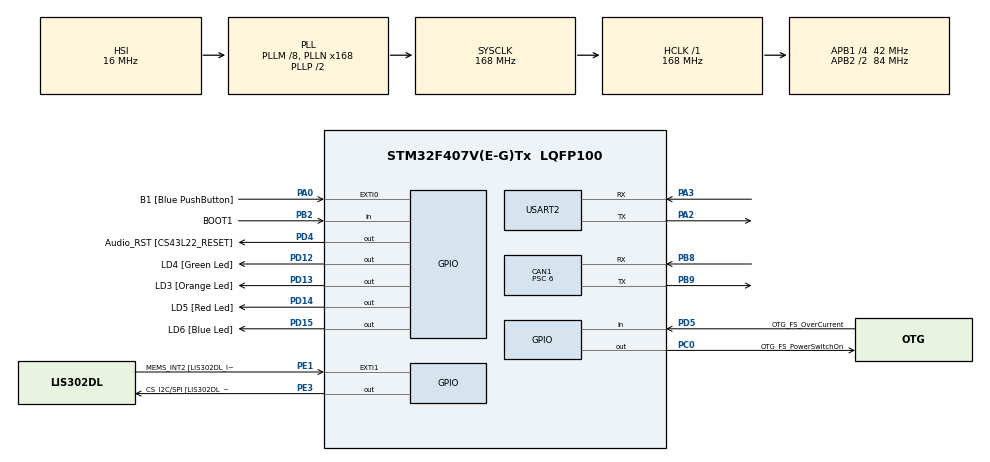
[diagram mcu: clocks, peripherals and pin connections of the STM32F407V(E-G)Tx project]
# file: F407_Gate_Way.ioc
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CAN1.BS1=CAN_BS1_11TQ
CAN1.BS2=CAN_BS2_2TQ
CAN1.CalculateBaudRate=500000
CAN1.CalculateTimeBit=2000
CAN1.CalculateTimeQuantum=142.85714285714286
CAN1.NART=ENABLE
CAN1.Prescaler=6
FREERTOS.Tasks01=defaultTask,0,128,StartDefaultTask,Default,NULL,Dynamic,NULL,NULL
Mcu.Family=STM32F4
Mcu.Name=STM32F407V(E-G)Tx
Mcu.Package=LQFP100
NVIC.CAN1_RX0_IRQn=true\:5\:0\:false\:false\:true\:true\:true\:true\:true
NVIC.CAN1_RX1_IRQn=true\:5\:0\:false\:false\:true\:true\:true\:true\:true
NVIC.PriorityGroup=NVIC_PRIORITYGROUP_4
NVIC.TIM6_DAC_IRQn=true\:15\:0\:false\:false\:true\:false\:false\:true\:true
NVIC.TimeBase=TIM6_DAC_IRQn
NVIC.TimeBaseIP=TIM6
PA0-WKUP.GPIO_Label=B1 [Blue PushButton]
PA0-WKUP.Signal=GPXTI0
PA10.GPIO_Label=OTG_FS_ID
PA10.GPIO_Mode=GPIO_MODE_AF_PP
PA10.GPIO_PuPd=GPIO_NOPULL
PA10.GPIO_Speed=GPIO_SPEED_FREQ_LOW
PA10.Signal=USB_OTG_FS_ID
PA11.GPIO_Label=OTG_FS_DM
PA11.GPIO_Mode=GPIO_MODE_AF_PP
PA11.GPIO_PuPd=GPIO_NOPULL
PA11.GPIO_Speed=GPIO_SPEED_FREQ_LOW
PA11.Signal=USB_OTG_FS_DM
PA12.GPIO_Label=OTG_FS_DP
PA12.GPIO_Mode=GPIO_MODE_AF_PP
PA12.GPIO_PuPd=GPIO_NOPULL
PA12.GPIO_Speed=GPIO_SPEED_FREQ_LOW
PA12.Signal=USB_OTG_FS_DP
PA13.GPIO_Label=SWDIO
PA13.Mode=Serial_Wire
PA13.Signal=SYS_JTMS-SWDIO
PA14.GPIO_Label=SWCLK
PA14.Mode=Serial_Wire
PA14.Signal=SYS_JTCK-SWCLK
PA2.Mode=Asynchronous
PA2.Signal=USART2_TX
PA3.Mode=Asynchronous
PA3.Signal=USART2_RX
PA4.GPIO_Label=I2S3_WS [CS43L22_LRCK]
PA4.GPIO_Mode=GPIO_MODE_AF_PP
PA4.GPIO_PuPd=GPIO_NOPULL
PA4.GPIO_Speed=GPIO_SPEED_FREQ_LOW
PA4.Signal=I2S3_WS
PA5.GPIO_Label=SPI1_SCK [LIS302DL_SCL/SPC]
PA5.GPIO_Mode=GPIO_MODE_AF_PP
PA5.GPIO_PuPd=GPIO_NOPULL
PA5.GPIO_Speed=GPIO_SPEED_FREQ_LOW
PA5.Signal=SPI1_SCK
PA6.GPIO_Label=SPI1_MISO [LIS302DL_SDO]
PA6.GPIO_Mode=GPIO_MODE_AF_PP
PA6.GPIO_PuPd=GPIO_NOPULL
PA6.GPIO_Speed=GPIO_SPEED_FREQ_LOW
PA6.Signal=SPI1_MISO
PA7.GPIO_Label=SPI1_MOSI [LIS302DL_SDA/SDI/SDO]
PA7.GPIO_Mode=GPIO_MODE_AF_PP
PA7.GPIO_PuPd=GPIO_NOPULL
PA7.GPIO_Speed=GPIO_SPEED_FREQ_LOW
PA7.Signal=SPI1_MOSI
PA9.GPIO_Label=VBUS_FS
PA9.GPIO_Mode=GPIO_MODE_INPUT
PA9.GPIO_PuPd=GPIO_NOPULL
PA9.Signal=USB_OTG_FS_VBUS
PB10.GPIO_Label=CLK_IN [MP45DT02_CLK]
PB10.GPIO_Mode=GPIO_MODE_AF_PP
PB10.GPIO_PuPd=GPIO_NOPULL
PB10.GPIO_Speed=GPIO_SPEED_FREQ_LOW
PB10.Signal=I2S2_CK
PB2.GPIO_Label=BOOT1
PB2.GPIO_Mode=GPIO_MODE_INPUT
PB2.GPIO_PuPd=GPIO_NOPULL
PB2.Signal=GPIO_Input
PB3.GPIO_Label=SWO
PB3.Signal=SYS_JTDO-SWO
PB6.GPIO_Label=Audio_SCL [CS43L22_SCL]
PB6.GPIO_Mode=GPIO_MODE_AF_OD
PB6.GPIO_PuPd=GPIO_NOPULL
PB6.GPIO_Speed=GPIO_SPEED_FREQ_LOW
PB6.Signal=I2C1_SCL
PB8.Mode=CAN_Activate
PB8.Signal=CAN1_RX
PB9.Mode=CAN_Activate
PB9.Signal=CAN1_TX
PC0.GPIO_Label=OTG_FS_PowerSwitchOn
PC0.GPIO_PuPd=GPIO_NOPULL
PC0.GPIO_Speed=GPIO_SPEED_FREQ_LOW
PC0.PinState=GPIO_PIN_SET
PC0.Signal=GPIO_Output
PC10.GPIO_Label=I2S3_SCK [CS43L22_SCLK]
PC10.GPIO_Mode=GPIO_MODE_AF_PP
PC10.GPIO_PuPd=GPIO_NOPULL
PC10.GPIO_Speed=GPIO_SPEED_FREQ_LOW
PC10.Signal=I2S3_CK
PC12.GPIO_Label=I2S3_SD [CS43L22_SDIN]
PC12.GPIO_Mode=GPIO_MODE_AF_PP
PC12.GPIO_PuPd=GPIO_NOPULL
PC12.GPIO_Speed=GPIO_SPEED_FREQ_LOW
PC12.Signal=I2S3_SD
PC14-OSC32_IN.GPIO_Label=PC14-OSC32_IN
PC14-OSC32_IN.Signal=RCC_OSC32_IN
PC15-OSC32_OUT.GPIO_Label=PC15-OSC32_OUT
PC15-OSC32_OUT.Signal=RCC_OSC32_OUT
PC3.GPIO_Label=PDM_OUT [MP45DT02_DOUT]
PC3.GPIO_Mode=GPIO_MODE_AF_PP
PC3.GPIO_PuPd=GPIO_NOPULL
PC3.GPIO_Speed=GPIO_SPEED_FREQ_LOW
PC3.Signal=I2S2_SD
PC7.GPIO_Label=I2S3_MCK [CS43L22_MCLK]
PC7.GPIO_Mode=GPIO_MODE_AF_PP
PC7.GPIO_PuPd=GPIO_NOPULL
PC7.GPIO_Speed=GPIO_SPEED_FREQ_LOW
PC7.Signal=I2S3_MCK
PD12.GPIO_Label=LD4 [Green Led]
PD12.GPIO_PuPd=GPIO_NOPULL
PD12.GPIO_Speed=GPIO_SPEED_FREQ_LOW
PD12.Signal=GPIO_Output
PD13.GPIO_Label=LD3 [Orange Led]
PD13.GPIO_PuPd=GPIO_NOPULL
PD13.GPIO_Speed=GPIO_SPEED_FREQ_LOW
PD13.Signal=GPIO_Output
PD14.GPIO_Label=LD5 [Red Led]
PD14.GPIO_PuPd=GPIO_NOPULL
PD14.GPIO_Speed=GPIO_SPEED_FREQ_LOW
PD14.Signal=GPIO_Output
PD15.GPIO_Label=LD6 [Blue Led]
PD15.GPIO_PuPd=GPIO_NOPULL
PD15.GPIO_Speed=GPIO_SPEED_FREQ_LOW
PD15.Signal=GPIO_Output
PD4.GPIO_Label=Audio_RST [CS43L22_RESET]
PD4.GPIO_PuPd=GPIO_NOPULL
PD4.GPIO_Speed=GPIO_SPEED_FREQ_LOW
PD4.Signal=GPIO_Output
PD5.GPIO_Label=OTG_FS_OverCurrent
PD5.GPIO_Mode=GPIO_MODE_INPUT
PD5.GPIO_PuPd=GPIO_NOPULL
PD5.Signal=GPIO_Input
PE1.GPIO_Label=MEMS_INT2 [LIS302DL_INT2]
PE1.GPIO_ModeDefaultEXTI=GPIO_MODE_EVT_RISING
PE1.GPIO_PuPd=GPIO_NOPULL
PE1.Signal=GPXTI1
PE3.GPIO_Label=CS_I2C/SPI [LIS302DL_CS_I2C/SPI]
PE3.GPIO_PuPd=GPIO_NOPULL
PE3.GPIO_Speed=GPIO_SPEED_FREQ_LOW
PE3.Signal=GPIO_Output
PH0-OSC_IN.GPIO_Label=PH0-OSC_IN
PH0-OSC_IN.Mode=HSE-External-Oscillator
PH0-OSC_IN.Signal=RCC_OSC_IN
PH1-OSC_OUT.GPIO_Label=PH1-OSC_OUT
PH1-OSC_OUT.Mode=HSE-External-Oscillator
PH1-OSC_OUT.Signal=RCC_OSC_OUT
ProjectManager.HeapSize=0x200
ProjectManager.StackSize=0x400
ProjectManager.TargetToolchain=STM32CubeIDE
RCC.48MHZClocksFreq_Value=48000000
RCC.AHBFreq_Value=168000000
RCC.APB1CLKDivider=RCC_HCLK_DIV4
RCC.APB1Freq_Value=42000000
RCC.APB1TimFreq_Value=84000000
RCC.APB2CLKDivider=RCC_HCLK_DIV2
RCC.APB2Freq_Value=84000000
RCC.APB2TimFreq_Value=168000000
RCC.CortexFreq_Value=168000000
RCC.HCLKFreq_Value=168000000
RCC.HSE_VALUE=8000000
RCC.HSI_VALUE=16000000
RCC.LSE_VALUE=32768
RCC.PLLM=8
RCC.PLLN=168
RCC.PLLQ=7
RCC.SYSCLKFreq_VALUE=168000000
RCC.SYSCLKSource=RCC_SYSCLKSOURCE_PLLCLK
RCC.VCOOutputFreq_Value=336000000
USART2.VirtualMode=VM_ASYNC
VP_FREERTOS_VS_CMSIS_V1.Mode=CMSIS_V1
VP_SYS_VS_tim6.Mode=TIM6
board=STM32F407G-DISC1

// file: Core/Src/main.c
/* USER CODE BEGIN Header */
/**
  ******************************************************************************
  * @file           : main.c
  * @brief          : Main program body
  ******************************************************************************
* @file           : main.c
  * @brief          : F407 - Gateway (FreeRTOS)
  *
  *  Task layout:
  *   - CAN RX ISR        : does the minimum possible work - copies the raw
  *                         frame into a queue item, toggles RX_LED, and
  *                         wakes vTask_CanRxProcess. No parsing happens
  *                         inside the ISR itself.
  *   - vTask_CanRxProcess: blocks on the CAN RX queue, parses each frame,
  *                         updates the shared sensor-aggregate struct
  *                         (protected by hAggMutex), replies with an
  *                         ACK/NACK (toggling TX_LED), and signals
  *                         vTask_UartPush that fresh data is available.
  *   - vTask_UartPush    : waits on a semaphore with a timeout equal to
  *                         UART_PUSH_INTERVAL_MS - this naturally implements
  *                         "push immediately on new data, otherwise push
  *                         periodically so the PC knows the link is alive".
  *
  * HARDWARE ASSUMPTIONS (adjust to match your actual board):
  *
  *  - TX_LED      : PD12 (LD4 on STM32F4-Discovery, green)
  *  - RX_LED      : PD14 (LD5 on STM32F4-Discovery, red)
  *
  * FreeRTOS: this file assumes the FreeRTOS kernel is already integrated by
  * CubeMX (heap_4, configUSE_MUTEXES=1). Native FreeRTOS API is used
  * directly (xTaskCreate/xQueueCreate/xSemaphoreCreate...) rather than the
  * CMSIS-RTOS2 wrapper.
  *
  ******************************************************************************
  */
/* USER CODE END Header */
#include "main.h"
#include "cmsis_os.h"

/* USER CODE BEGIN Includes */
#include <stdio.h>
#include <string.h>
#include "can_protocol.h"
#include "uart_protocol.h"

#include "FreeRTOS.h"
#include "task.h"
#include "queue.h"
#include "semphr.h"
/* USER CODE END Includes */

CAN_HandleTypeDef hcan1;

UART_HandleTypeDef huart2;

osThreadId defaultTaskHandle;
/* USER CODE BEGIN PV */
#define TX_LED_GPIO_Port    GPIOD
#define TX_LED_Pin          GPIO_PIN_12  /* LD4 */
#define RX_LED_GPIO_Port    GPIOD
#define RX_LED_Pin          GPIO_PIN_14  /* LD5 */

#define TASK_STACK_SIZE     256
#define TASK_PRIO_CAN_RX    (tskIDLE_PRIORITY + 3)
#define TASK_PRIO_UART_TX   (tskIDLE_PRIORITY + 2)
#define CAN_RX_QUEUE_LEN    8

typedef struct {
    uint32_t stdId;
    uint8_t  data[8];
} CanRxItem_t;

typedef struct {
	uint8_t seq;
    uint16_t cycle_time_s;
    uint16_t speed_x10_kmh;
    uint16_t rpm;
    uint8_t  phase;
    uint32_t last_ms;
} __attribute__((packed)) CycleAggregate_t;

static CycleAggregate_t g_agg = {0};

static QueueHandle_t     hCanRxQueue;
static SemaphoreHandle_t hAggMutex;
static SemaphoreHandle_t hNewDataSem;

/* USER CODE END PV */

void SystemClock_Config(void);
static void MX_GPIO_Init(void);
static void MX_CAN1_Init(void);
static void MX_USART2_UART_Init(void);
void StartDefaultTask(void const * argument);

/* USER CODE BEGIN PFP */
static void CAN_SendAck(uint8_t msgtypeEcho, uint8_t seqEcho, uint8_t status);
static void UART_SendFrame(uint8_t msgId, const uint8_t *payload, uint8_t len);
static void UART_PushSnapshot(void);
static void UART_PushFault(uint8_t faultCode);
void        UART2_Print(char *str);

static void vTask_CanRxProcess(void *argument);
static void vTask_UartPush(void *argument);
/* USER CODE END PFP */

/* USER CODE BEGIN 0 */
void UART2_Print(char *str)
{
    HAL_UART_Transmit(&huart2, (uint8_t *)str, strlen(str), HAL_MAX_DELAY);
}

static void UART_SendFrame(uint8_t msgId, const uint8_t *payload, uint8_t len)
{
    uint8_t buf[2 + 1 + 1 + 255 + 1 + 1];
    uint8_t idx = 0;

    buf[idx++] = UART_SOF1;
    buf[idx++] = UART_SOF2;
    buf[idx++] = len;
    buf[idx++] = msgId;
    memcpy(&buf[idx], payload, len);
    idx += len;

    uint8_t crc = CRC8_Calc(&buf[3], (uint16_t)(1 + len));
    buf[idx++] = crc;
    buf[idx++] = UART_EOF;

    HAL_UART_Transmit(&huart2, buf, idx, HAL_MAX_DELAY);
}

static void UART_PushSnapshot(void)
{
    UART_CycleSnapshot_t snap = {0};

    xSemaphoreTake(hAggMutex, portMAX_DELAY);
    snap.seq           = g_agg.seq;
    snap.cycle_time_s  = g_agg.cycle_time_s;
    snap.speed_x10_kmh = g_agg.speed_x10_kmh;
    snap.rpm           = g_agg.rpm;
    snap.phase         = g_agg.phase;
    snap.last_ms       = g_agg.last_ms;
    xSemaphoreGive(hAggMutex);

    UART_SendFrame(PC_MSG_CYCLE_SNAPSHOT, (uint8_t *)&snap, sizeof(snap));
}

static void UART_PushFault(uint8_t faultCode)
{
    UART_FaultPayload_t f = { .fault_code = faultCode };
    UART_SendFrame(PC_MSG_FAULT, (uint8_t *)&f, sizeof(f));
}

static void CAN_SendAck(uint8_t msgtypeEcho, uint8_t seqEcho, uint8_t status)
{
    CAN_TxHeaderTypeDef h = {0};
    uint8_t txData[8] = {0};
    uint32_t mailbox;
    CAN_AckPayload_t ack = { .msgtype_echo = msgtypeEcho, .seq_echo = seqEcho, .status = status };

    h.StdId = (status == CAN_ACK_OK) ? CAN_ID_GATEWAY_ACK : CAN_ID_GATEWAY_NACK;
    h.IDE = CAN_ID_STD;
    h.RTR = CAN_RTR_DATA;
    h.DLC = 8;
    memcpy(txData, &ack, sizeof(ack));
    HAL_CAN_AddTxMessage(&hcan1, &h, txData, &mailbox);

    HAL_GPIO_TogglePin(GPIOD, LD4_Pin);
}

void HAL_CAN_RxFifo0MsgPendingCallback(CAN_HandleTypeDef *hcan)
{
    CAN_RxHeaderTypeDef rxHeader;
    CanRxItem_t item;
    BaseType_t xHigherPriorityTaskWoken = pdFALSE;

    if (HAL_CAN_GetRxMessage(hcan, CAN_RX_FIFO0, &rxHeader, item.data) != HAL_OK) { return; }
    item.stdId = rxHeader.StdId;

    HAL_GPIO_TogglePin(GPIOD, LD5_Pin);

    xQueueSendFromISR(hCanRxQueue, &item, &xHigherPriorityTaskWoken);
    portYIELD_FROM_ISR(xHigherPriorityTaskWoken);
}

/* ==========================================================================
 * TASKS
 * ========================================================================== */
static void vTask_CanRxProcess(void *argument)
{
    (void)argument;
    CanRxItem_t item;

    for (;;)
    {
        if (xQueueReceive(hCanRxQueue, &item, portMAX_DELAY) != pdTRUE) { continue; }

        uint32_t node = CAN_GET_NODE(item.stdId);
        uint32_t type = CAN_GET_TYPE(item.stdId);

<<<<<<< HEAD
=======
//        char dbg[64];
//        sprintf(dbg, "[GW-DBG] rx stdId=0x%03lX node=%lu type=%lu\r\n",
//                (unsigned long)item.stdId, (unsigned long)node, (unsigned long)type);
//        UART2_Print(dbg);

>>>>>>> b53a342968f9c4e42c07624bfe9813c6c9f18e55
        if (node != CAN_NODE_SIM) { continue; }

        uint8_t seq = 0;
        uint8_t status = CAN_ACK_OK;
        uint8_t gotNewData = 0;

        switch (type)
        {
        	case CAN_MSG_VEHICLE_CYCLE:
            {
            	CAN_VehicleCyclePayload_t *p = (CAN_VehicleCyclePayload_t *)item.data;
                seq = p->seq;
                xSemaphoreTake(hAggMutex, portMAX_DELAY);
                g_agg.seq           = p->seq;
                g_agg.cycle_time_s  = p->cycle_time_s;
                g_agg.speed_x10_kmh = p->speed_x10_kmh;
                g_agg.rpm           = p->rpm;
                g_agg.phase         = p->phase;
                g_agg.last_ms       = HAL_GetTick();
                xSemaphoreGive(hAggMutex);

                gotNewData = 1;
                break;
            }
            case CAN_MSG_SIM_FAULT:
            {
                CAN_FaultPayload_t *f = (CAN_FaultPayload_t *)item.data;
                UART_PushFault(f->fault_code);
                continue; /* fault frames are not acknowledged */
            }
            default:
                continue; /* unknown type, ignore, no ACK */
        }

        CAN_SendAck(type, seq, status);

        if (gotNewData)
        {
            xSemaphoreGive(hNewDataSem);
        }
    }
}

static void vTask_UartPush(void *argument)
{
    (void)argument;

    for (;;)
    {
        xSemaphoreTake(hNewDataSem, pdMS_TO_TICKS(UART_PUSH_INTERVAL_MS));
        UART_PushSnapshot();
    }
}
/* USER CODE END 0 */

int main(void)
{

  /* MCU Configuration--------------------------------------------------------*/

  /* Reset of all peripherals, Initializes the Flash interface and the Systick. */
  HAL_Init();

  /* Configure the system clock */
  SystemClock_Config();

  /* Initialize all configured peripherals */
  MX_GPIO_Init();
  MX_CAN1_Init();
  MX_USART2_UART_Init();
  /* USER CODE BEGIN 2 */
  UART2_Print("F407 Gateway (FreeRTOS) starting...\r\n");

   hCanRxQueue = xQueueCreate(CAN_RX_QUEUE_LEN, sizeof(CanRxItem_t));
   hAggMutex   = xSemaphoreCreateMutex();
   hNewDataSem = xSemaphoreCreateBinary();

   HAL_CAN_Start(&hcan1);
   HAL_CAN_ActivateNotification(&hcan1, CAN_IT_RX_FIFO0_MSG_PENDING);

   xTaskCreate(vTask_CanRxProcess, "CanRx",  TASK_STACK_SIZE, NULL, TASK_PRIO_CAN_RX,  NULL);
   xTaskCreate(vTask_UartPush,     "UartTx", TASK_STACK_SIZE, NULL, TASK_PRIO_UART_TX, NULL);

<<<<<<< HEAD
=======
//   char dbg[64];
//   sprintf(dbg, "[DBG] r1=%ld r2=%ld heapFree=%lu\r\n",
//           (long)r1, (long)r2, (unsigned long)xPortGetFreeHeapSize());
//   UART2_Print(dbg);
>>>>>>> b53a342968f9c4e42c07624bfe9813c6c9f18e55

//   vTaskStartScheduler();
  /* USER CODE END 2 */

  /* Create the thread(s) */
  /* definition and creation of defaultTask */
  osThreadDef(defaultTask, StartDefaultTask, osPriorityNormal, 0, 128);
  defaultTaskHandle = osThreadCreate(osThread(defaultTask), NULL);

  /* Start scheduler */
  osKernelStart();

  /* We should never get here as control is now taken by the scheduler */

  /* Infinite loop */
  /* USER CODE BEGIN WHILE */
  while (1)
  {
//	  HAL_GPIO_TogglePin(GPIOD, GPIO_PIN_13);
//	  HAL_Delay(500);
    /* USER CODE END WHILE */

  }
}

void SystemClock_Config(void)
{
  RCC_OscInitTypeDef RCC_OscInitStruct = {0};
  RCC_ClkInitTypeDef RCC_ClkInitStruct = {0};

  /** Configure the main internal regulator output voltage
  */
  __HAL_RCC_PWR_CLK_ENABLE();
  __HAL_PWR_VOLTAGESCALING_CONFIG(PWR_REGULATOR_VOLTAGE_SCALE1);

  /** Initializes the RCC Oscillators according to the specified parameters
  * in the RCC_OscInitTypeDef structure.
  */
  RCC_OscInitStruct.OscillatorType = RCC_OSCILLATORTYPE_HSI;
  RCC_OscInitStruct.HSIState = RCC_HSI_ON;
  RCC_OscInitStruct.HSICalibrationValue = RCC_HSICALIBRATION_DEFAULT;
  RCC_OscInitStruct.PLL.PLLState = RCC_PLL_ON;
  RCC_OscInitStruct.PLL.PLLSource = RCC_PLLSOURCE_HSI;
  RCC_OscInitStruct.PLL.PLLM = 8;
  RCC_OscInitStruct.PLL.PLLN = 168;
  RCC_OscInitStruct.PLL.PLLP = RCC_PLLP_DIV2;
  RCC_OscInitStruct.PLL.PLLQ = 7;
  if (HAL_RCC_OscConfig(&RCC_OscInitStruct) != HAL_OK)
  {
    Error_Handler();
  }

  /** Initializes the CPU, AHB and APB buses clocks
  */
  RCC_ClkInitStruct.ClockType = RCC_CLOCKTYPE_HCLK|RCC_CLOCKTYPE_SYSCLK
                              |RCC_CLOCKTYPE_PCLK1|RCC_CLOCKTYPE_PCLK2;
  RCC_ClkInitStruct.SYSCLKSource = RCC_SYSCLKSOURCE_PLLCLK;
  RCC_ClkInitStruct.AHBCLKDivider = RCC_SYSCLK_DIV1;
  RCC_ClkInitStruct.APB1CLKDivider = RCC_HCLK_DIV4;
  RCC_ClkInitStruct.APB2CLKDivider = RCC_HCLK_DIV2;

  if (HAL_RCC_ClockConfig(&RCC_ClkInitStruct, FLASH_LATENCY_5) != HAL_OK)
  {
    Error_Handler();
  }
}

static void MX_CAN1_Init(void)
{

  hcan1.Instance = CAN1;
  hcan1.Init.Prescaler = 6;
  hcan1.Init.Mode = CAN_MODE_NORMAL;
  hcan1.Init.SyncJumpWidth = CAN_SJW_1TQ;
  hcan1.Init.TimeSeg1 = CAN_BS1_11TQ;
  hcan1.Init.TimeSeg2 = CAN_BS2_2TQ;
  hcan1.Init.TimeTriggeredMode = DISABLE;
  hcan1.Init.AutoBusOff = DISABLE;
  hcan1.Init.AutoWakeUp = DISABLE;
  hcan1.Init.AutoRetransmission = ENABLE;
  hcan1.Init.ReceiveFifoLocked = DISABLE;
  hcan1.Init.TransmitFifoPriority = DISABLE;
  if (HAL_CAN_Init(&hcan1) != HAL_OK)
  {
    Error_Handler();
  }
  /* USER CODE BEGIN CAN1_Init 2 */
  CAN_FilterTypeDef canFilter = {0};
      canFilter.FilterBank = 0;
      canFilter.FilterMode = CAN_FILTERMODE_IDMASK;
      canFilter.FilterScale = CAN_FILTERSCALE_32BIT;
      canFilter.FilterIdHigh = 0x0000; 					//(CAN_FILTER_ID_FROM_SIM << 5);
      canFilter.FilterIdLow = 0x0000;
      canFilter.FilterMaskIdHigh = 0x0000;                    //(CAN_FILTER_MASK_NODE_ONLY << 5);
      canFilter.FilterMaskIdLow = 0x0000;
      canFilter.FilterFIFOAssignment = CAN_RX_FIFO0;
      canFilter.FilterActivation = ENABLE;
      canFilter.SlaveStartFilterBank = 14;
      HAL_CAN_ConfigFilter(&hcan1, &canFilter);

  /* USER CODE END CAN1_Init 2 */

}

static void MX_USART2_UART_Init(void)
{

  huart2.Instance = USART2;
  huart2.Init.BaudRate = 115200;
  huart2.Init.WordLength = UART_WORDLENGTH_8B;
  huart2.Init.StopBits = UART_STOPBITS_1;
  huart2.Init.Parity = UART_PARITY_NONE;
  huart2.Init.Mode = UART_MODE_TX_RX;
  huart2.Init.HwFlowCtl = UART_HWCONTROL_NONE;
  huart2.Init.OverSampling = UART_OVERSAMPLING_16;
  if (HAL_UART_Init(&huart2) != HAL_OK)
  {
    Error_Handler();
  }

}

static void MX_GPIO_Init(void)
{
  GPIO_InitTypeDef GPIO_InitStruct = {0};

  /* GPIO Ports Clock Enable */
  __HAL_RCC_GPIOE_CLK_ENABLE();
  __HAL_RCC_GPIOC_CLK_ENABLE();
  __HAL_RCC_GPIOH_CLK_ENABLE();
  __HAL_RCC_GPIOA_CLK_ENABLE();
  __HAL_RCC_GPIOB_CLK_ENABLE();
  __HAL_RCC_GPIOD_CLK_ENABLE();

  /*Configure GPIO pin Output Level */
  HAL_GPIO_WritePin(CS_I2C_SPI_GPIO_Port, CS_I2C_SPI_Pin, GPIO_PIN_RESET);

  /*Configure GPIO pin Output Level */
  HAL_GPIO_WritePin(OTG_FS_PowerSwitchOn_GPIO_Port, OTG_FS_PowerSwitchOn_Pin, GPIO_PIN_SET);

  /*Configure GPIO pin Output Level */
  HAL_GPIO_WritePin(GPIOD, LD4_Pin|LD3_Pin|LD5_Pin|LD6_Pin
                          |Audio_RST_Pin, GPIO_PIN_RESET);

  /*Configure GPIO pin : CS_I2C_SPI_Pin */
  GPIO_InitStruct.Pin = CS_I2C_SPI_Pin;
  GPIO_InitStruct.Mode = GPIO_MODE_OUTPUT_PP;
  GPIO_InitStruct.Pull = GPIO_NOPULL;
  GPIO_InitStruct.Speed = GPIO_SPEED_FREQ_LOW;
  HAL_GPIO_Init(CS_I2C_SPI_GPIO_Port, &GPIO_InitStruct);

  /*Configure GPIO pin : OTG_FS_PowerSwitchOn_Pin */
  GPIO_InitStruct.Pin = OTG_FS_PowerSwitchOn_Pin;
  GPIO_InitStruct.Mode = GPIO_MODE_OUTPUT_PP;
  GPIO_InitStruct.Pull = GPIO_NOPULL;
  GPIO_InitStruct.Speed = GPIO_SPEED_FREQ_LOW;
  HAL_GPIO_Init(OTG_FS_PowerSwitchOn_GPIO_Port, &GPIO_InitStruct);

  /*Configure GPIO pin : PDM_OUT_Pin */
  GPIO_InitStruct.Pin = PDM_OUT_Pin;
  GPIO_InitStruct.Mode = GPIO_MODE_AF_PP;
  GPIO_InitStruct.Pull = GPIO_NOPULL;
  GPIO_InitStruct.Speed = GPIO_SPEED_FREQ_LOW;
  GPIO_InitStruct.Alternate = GPIO_AF5_SPI2;
  HAL_GPIO_Init(PDM_OUT_GPIO_Port, &GPIO_InitStruct);

  /*Configure GPIO pin : B1_Pin */
  GPIO_InitStruct.Pin = B1_Pin;
  GPIO_InitStruct.Mode = GPIO_MODE_IT_RISING;
  GPIO_InitStruct.Pull = GPIO_NOPULL;
  HAL_GPIO_Init(B1_GPIO_Port, &GPIO_InitStruct);

  /*Configure GPIO pin : I2S3_WS_Pin */
  GPIO_InitStruct.Pin = I2S3_WS_Pin;
  GPIO_InitStruct.Mode = GPIO_MODE_AF_PP;
  GPIO_InitStruct.Pull = GPIO_NOPULL;
  GPIO_InitStruct.Speed = GPIO_SPEED_FREQ_LOW;
  GPIO_InitStruct.Alternate = GPIO_AF6_SPI3;
  HAL_GPIO_Init(I2S3_WS_GPIO_Port, &GPIO_InitStruct);

  /*Configure GPIO pins : SPI1_SCK_Pin SPI1_MISO_Pin SPI1_MOSI_Pin */
  GPIO_InitStruct.Pin = SPI1_SCK_Pin|SPI1_MISO_Pin|SPI1_MOSI_Pin;
  GPIO_InitStruct.Mode = GPIO_MODE_AF_PP;
  GPIO_InitStruct.Pull = GPIO_NOPULL;
  GPIO_InitStruct.Speed = GPIO_SPEED_FREQ_LOW;
  GPIO_InitStruct.Alternate = GPIO_AF5_SPI1;
  HAL_GPIO_Init(GPIOA, &GPIO_InitStruct);

  /*Configure GPIO pin : BOOT1_Pin */
  GPIO_InitStruct.Pin = BOOT1_Pin;
  GPIO_InitStruct.Mode = GPIO_MODE_INPUT;
  GPIO_InitStruct.Pull = GPIO_NOPULL;
  HAL_GPIO_Init(BOOT1_GPIO_Port, &GPIO_InitStruct);

  /*Configure GPIO pin : CLK_IN_Pin */
  GPIO_InitStruct.Pin = CLK_IN_Pin;
  GPIO_InitStruct.Mode = GPIO_MODE_AF_PP;
  GPIO_InitStruct.Pull = GPIO_NOPULL;
  GPIO_InitStruct.Speed = GPIO_SPEED_FREQ_LOW;
  GPIO_InitStruct.Alternate = GPIO_AF5_SPI2;
  HAL_GPIO_Init(CLK_IN_GPIO_Port, &GPIO_InitStruct);

  /*Configure GPIO pins : LD4_Pin LD3_Pin LD5_Pin LD6_Pin
                           Audio_RST_Pin */
  GPIO_InitStruct.Pin = LD4_Pin|LD3_Pin|LD5_Pin|LD6_Pin
                          |Audio_RST_Pin;
  GPIO_InitStruct.Mode = GPIO_MODE_OUTPUT_PP;
  GPIO_InitStruct.Pull = GPIO_NOPULL;
  GPIO_InitStruct.Speed = GPIO_SPEED_FREQ_LOW;
  HAL_GPIO_Init(GPIOD, &GPIO_InitStruct);

  /*Configure GPIO pins : I2S3_MCK_Pin I2S3_SCK_Pin I2S3_SD_Pin */
  GPIO_InitStruct.Pin = I2S3_MCK_Pin|I2S3_SCK_Pin|I2S3_SD_Pin;
  GPIO_InitStruct.Mode = GPIO_MODE_AF_PP;
  GPIO_InitStruct.Pull = GPIO_NOPULL;
  GPIO_InitStruct.Speed = GPIO_SPEED_FREQ_LOW;
  GPIO_InitStruct.Alternate = GPIO_AF6_SPI3;
  HAL_GPIO_Init(GPIOC, &GPIO_InitStruct);

  /*Configure GPIO pin : VBUS_FS_Pin */
  GPIO_InitStruct.Pin = VBUS_FS_Pin;
  GPIO_InitStruct.Mode = GPIO_MODE_INPUT;
  GPIO_InitStruct.Pull = GPIO_NOPULL;
  HAL_GPIO_Init(VBUS_FS_GPIO_Port, &GPIO_InitStruct);

  /*Configure GPIO pins : OTG_FS_ID_Pin OTG_FS_DM_Pin OTG_FS_DP_Pin */
  GPIO_InitStruct.Pin = OTG_FS_ID_Pin|OTG_FS_DM_Pin|OTG_FS_DP_Pin;
  GPIO_InitStruct.Mode = GPIO_MODE_AF_PP;
  GPIO_InitStruct.Pull = GPIO_NOPULL;
  GPIO_InitStruct.Speed = GPIO_SPEED_FREQ_LOW;
  GPIO_InitStruct.Alternate = GPIO_AF10_OTG_FS;
  HAL_GPIO_Init(GPIOA, &GPIO_InitStruct);

  /*Configure GPIO pin : OTG_FS_OverCurrent_Pin */
  GPIO_InitStruct.Pin = OTG_FS_OverCurrent_Pin;
  GPIO_InitStruct.Mode = GPIO_MODE_INPUT;
  GPIO_InitStruct.Pull = GPIO_NOPULL;
  HAL_GPIO_Init(OTG_FS_OverCurrent_GPIO_Port, &GPIO_InitStruct);

  /*Configure GPIO pin : Audio_SCL_Pin */
  GPIO_InitStruct.Pin = Audio_SCL_Pin;
  GPIO_InitStruct.Mode = GPIO_MODE_AF_OD;
  GPIO_InitStruct.Pull = GPIO_NOPULL;
  GPIO_InitStruct.Speed = GPIO_SPEED_FREQ_LOW;
  GPIO_InitStruct.Alternate = GPIO_AF4_I2C1;
  HAL_GPIO_Init(Audio_SCL_GPIO_Port, &GPIO_InitStruct);

  /*Configure GPIO pin : MEMS_INT2_Pin */
  GPIO_InitStruct.Pin = MEMS_INT2_Pin;
  GPIO_InitStruct.Mode = GPIO_MODE_EVT_RISING;
  GPIO_InitStruct.Pull = GPIO_NOPULL;
  HAL_GPIO_Init(MEMS_INT2_GPIO_Port, &GPIO_InitStruct);

}

void StartDefaultTask(void const * argument)
{
  /* USER CODE BEGIN 5 */
  /* Infinite loop */
  for(;;)
  {
	  HAL_GPIO_TogglePin(GPIOD, GPIO_PIN_15);
	  osDelay(500);
  }
  /* USER CODE END 5 */
}

void HAL_TIM_PeriodElapsedCallback(TIM_HandleTypeDef *htim)
{
  if (htim->Instance == TIM6)
  {
    HAL_IncTick();
  }
}

void Error_Handler(void)
{
  __disable_irq();
  while (1)
  {
  }
}
